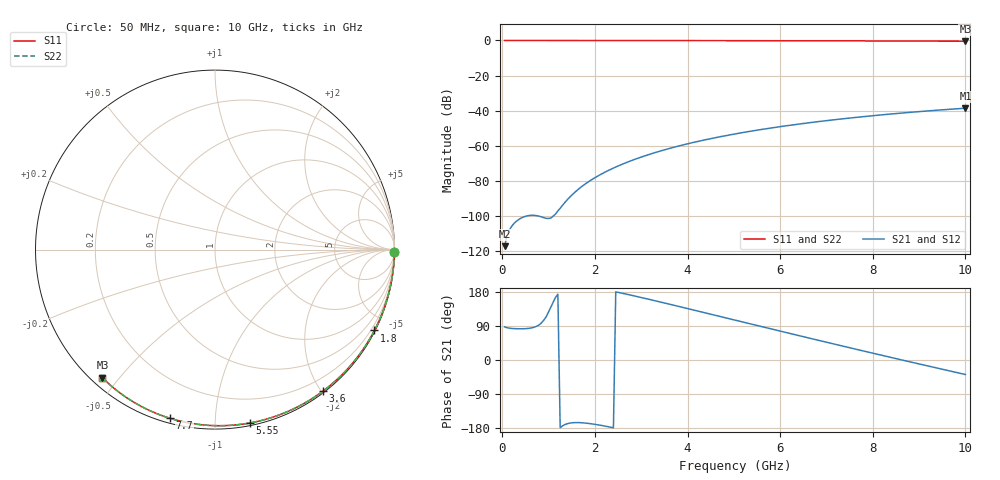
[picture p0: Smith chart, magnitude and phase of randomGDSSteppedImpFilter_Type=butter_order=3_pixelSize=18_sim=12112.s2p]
! freq	dB(S11)	phase(S11)	dB(S12)	phase(S12)
!  dB(S21)	phase(S21)	dB(S22)	phase(S22)
!S-par simulation data
#  GHz  S  DB  R 50
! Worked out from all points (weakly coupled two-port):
!   200 points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, 50 MHz to 10 GHz, reference 50 ohm
!   highest |S21| = -38.57 dB at 10 GHz (marker M1); lowest = -117.1 dB at 50 MHz (marker M2)
!   lowest |S11| = -0.4 dB at 10 GHz (marker M3), VSWR 39.18, Z = 1.54 - j22.6 ohm
!   |S11| at or under -10 dB: nowhere
!   |S22| runs from -0.4 to 0.0 dB; largest |S21 - S12| = 0
!   S11 on the Smith chart (normalised r, x): 50 MHz: open; 1.8 GHz: 0.04, -4.18; 3.6 GHz: 0.02, -2.02; 5.55 GHz: 0.02, -1.22; 7.7 GHz: 0.02, -0.77; 10 GHz: 0.03, -0.45
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0.05  -0.00 -0.8  -117.14 87.4  -117.14 87.4  -0.00 -0.8
0.45  -0.01 -6.8  -100.61 82.4  -100.61 82.4  -0.01 -6.8
0.9  -0.02 -13.6  -100.96 105.8  -100.96 105.8  -0.02 -13.6
1.75  -0.03 -26.2  -82.50 -165.9  -82.50 -165.9  -0.03 -26.2
1.8  -0.03 -26.9  -81.55 -166.5  -81.55 -166.5  -0.03 -26.9
1.9  -0.04 -28.4  -79.79 -168.0  -79.79 -168.0  -0.04 -28.4
2.05  -0.04 -30.6  -77.38 -170.8  -77.38 -170.8  -0.04 -30.6
2.25  -0.04 -33.5  -74.56 -175.2  -74.56 -175.2  -0.04 -33.5
2.45  -0.05 -36.3  -72.06 179.9  -72.06 179.9  -0.05 -36.3
2.65  -0.05 -39.2  -69.83 174.6  -69.83 174.6  -0.05 -39.2
3  -0.06 -44.2  -66.40 164.9  -66.40 164.9  -0.06 -44.2
3.4  -0.07 -49.8  -63.05 153.4  -63.05 153.4  -0.07 -49.8
3.6  -0.07 -52.6  -61.56 147.6  -61.56 147.6  -0.07 -52.6
4.3  -0.09 -62.2  -57.04 126.9  -57.04 126.9  -0.09 -62.2
5.05  -0.11 -72.1  -53.11 104.5  -53.11 104.5  -0.11 -72.1
5.55  -0.13 -78.6  -50.88 89.6  -50.88 89.6  -0.13 -78.6
6.1  -0.15 -85.5  -48.71 73.3  -48.71 73.3  -0.15 -85.5
6.7  -0.18 -92.9  -46.61 55.6  -46.61 55.6  -0.18 -92.9
7.7  -0.24 -104.9  -43.63 26.6  -43.63 26.6  -0.24 -104.9
8.35  -0.29 -112.5  -41.98 8.0  -41.98 8.0  -0.29 -112.5
9.15  -0.36 -121.7  -40.20 -14.6  -40.20 -14.6  -0.36 -121.7
10  -0.44 -131.3  -38.57 -38.3  -38.57 -38.3  -0.44 -131.3
